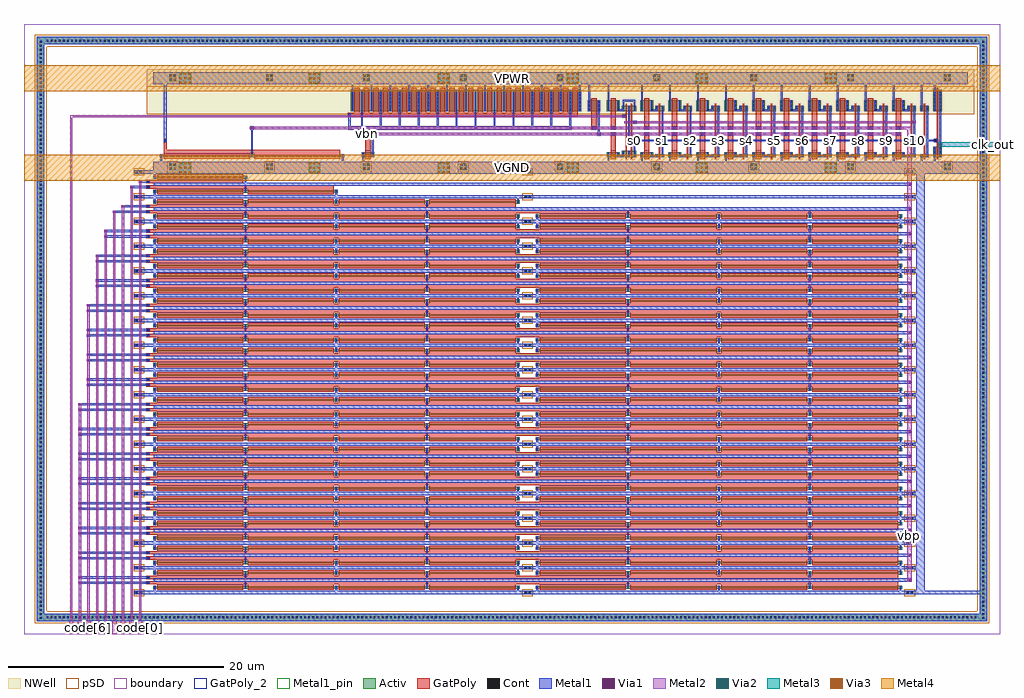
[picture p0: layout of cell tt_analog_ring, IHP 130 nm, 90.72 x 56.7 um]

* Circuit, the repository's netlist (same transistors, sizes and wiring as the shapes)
** TT_ANALOG_RING flat netlist
*.PININFO CODE[0]:I CODE[1]:I CODE[2]:I CODE[3]:I CODE[4]:I CODE[5]:I CODE[6]:I CODE[7]:I ENABLE:I CLK_OUT:O VPWR:B VGND:B
*--------BEGIN_XDAC->CSRO_DAC
*.PININFO CODE[0]:I CODE[1]:I CODE[2]:I CODE[3]:I CODE[4]:I CODE[5]:I CODE[6]:I CODE[7]:I VBP:O VPWR:B VGND:B
MD0_XDAC VBP CODE[0] VGND VGND SG13_LV_NMOS W=0.15U L=8U NG=1
MD1_XDAC VBP CODE[1] VGND VGND SG13_LV_NMOS W=0.3U L=8U NG=2
MD2_XDAC VBP CODE[2] VGND VGND SG13_LV_NMOS W=0.6U L=8U NG=4
MD3_XDAC VBP CODE[3] VGND VGND SG13_LV_NMOS W=1.2U L=8U NG=8
MD4_XDAC VBP CODE[4] VGND VGND SG13_LV_NMOS W=2.4U L=8U NG=16
MD5_XDAC VBP CODE[5] VGND VGND SG13_LV_NMOS W=4.8U L=8U NG=32
MD6_XDAC VBP CODE[6] VGND VGND SG13_LV_NMOS W=9.6U L=8U NG=64
MD7_XDAC VBP CODE[7] VGND VGND SG13_LV_NMOS W=19.2U L=8U NG=128
MDON_XDAC VBP VPWR VGND VGND SG13_LV_NMOS W=0.3U L=8U NG=2
*--------END___XDAC->CSRO_DAC
MMPD VBP VBP VPWR VPWR SG13_LV_PMOS W=48U L=0.5U NG=24
MMPM VBN VBP VPWR VPWR SG13_LV_PMOS W=1U L=0.5U NG=1
MMND VBN VBN VGND VGND SG13_LV_NMOS W=0.5U L=0.5U NG=1
*--------BEGIN_XNAND->CSRO_NAND
*.PININFO A:I B:I OUT:O VBP:I VPWR:B VBN:I VGND:B
MMPS0_XNAND XNAND_NET1 VBP VPWR VPWR SG13_LV_PMOS W=1U L=0.5U NG=1
MMPA0_XNAND NET1 ENABLE XNAND_NET1 VPWR SG13_LV_PMOS W=0.5U L=0.13U NG=1
MMPB0_XNAND NET1 S10 XNAND_NET1 VPWR SG13_LV_PMOS W=0.5U L=0.13U NG=1
MMNB0_XNAND NET1 S10 XNAND_NET2 VGND SG13_LV_NMOS W=0.6U L=0.13U NG=1
MMNA0_XNAND XNAND_NET2 ENABLE XNAND_NET3 VGND SG13_LV_NMOS W=0.6U L=0.13U NG=1
MMNS0_XNAND XNAND_NET3 VBN VGND VGND SG13_LV_NMOS W=0.5U L=0.5U NG=1
*--------END___XNAND->CSRO_NAND
*--------BEGIN_X1->CSRO_STAGE
*.PININFO IN:I OUT:O VBP:I VPWR:B VBN:I VGND:B
MMPS_X1 X1_NET1 VBP VPWR VPWR SG13_LV_PMOS W=1U L=0.5U NG=1
MMP_X1 NET2 NET1 X1_NET1 VPWR SG13_LV_PMOS W=0.5U L=0.13U NG=1
MMN_X1 NET2 NET1 X1_NET2 VGND SG13_LV_NMOS W=0.3U L=0.13U NG=1
MMNS_X1 X1_NET2 VBN VGND VGND SG13_LV_NMOS W=0.5U L=0.5U NG=1
*--------END___X1->CSRO_STAGE
*--------BEGIN_X2->CSRO_STAGE
*.PININFO IN:I OUT:O VBP:I VPWR:B VBN:I VGND:B
MMPS_X2 X2_NET1 VBP VPWR VPWR SG13_LV_PMOS W=1U L=0.5U NG=1
MMP_X2 NET3 NET2 X2_NET1 VPWR SG13_LV_PMOS W=0.5U L=0.13U NG=1
MMN_X2 NET3 NET2 X2_NET2 VGND SG13_LV_NMOS W=0.3U L=0.13U NG=1
MMNS_X2 X2_NET2 VBN VGND VGND SG13_LV_NMOS W=0.5U L=0.5U NG=1
*--------END___X2->CSRO_STAGE
*--------BEGIN_X3->CSRO_STAGE
*.PININFO IN:I OUT:O VBP:I VPWR:B VBN:I VGND:B
MMPS_X3 X3_NET1 VBP VPWR VPWR SG13_LV_PMOS W=1U L=0.5U NG=1
MMP_X3 NET4 NET3 X3_NET1 VPWR SG13_LV_PMOS W=0.5U L=0.13U NG=1
MMN_X3 NET4 NET3 X3_NET2 VGND SG13_LV_NMOS W=0.3U L=0.13U NG=1
MMNS_X3 X3_NET2 VBN VGND VGND SG13_LV_NMOS W=0.5U L=0.5U NG=1
*--------END___X3->CSRO_STAGE
*--------BEGIN_X4->CSRO_STAGE
*.PININFO IN:I OUT:O VBP:I VPWR:B VBN:I VGND:B
MMPS_X4 X4_NET1 VBP VPWR VPWR SG13_LV_PMOS W=1U L=0.5U NG=1
MMP_X4 NET5 NET4 X4_NET1 VPWR SG13_LV_PMOS W=0.5U L=0.13U NG=1
MMN_X4 NET5 NET4 X4_NET2 VGND SG13_LV_NMOS W=0.3U L=0.13U NG=1
MMNS_X4 X4_NET2 VBN VGND VGND SG13_LV_NMOS W=0.5U L=0.5U NG=1
*--------END___X4->CSRO_STAGE
*--------BEGIN_X5->CSRO_STAGE
*.PININFO IN:I OUT:O VBP:I VPWR:B VBN:I VGND:B
MMPS_X5 X5_NET1 VBP VPWR VPWR SG13_LV_PMOS W=1U L=0.5U NG=1
MMP_X5 NET6 NET5 X5_NET1 VPWR SG13_LV_PMOS W=0.5U L=0.13U NG=1
MMN_X5 NET6 NET5 X5_NET2 VGND SG13_LV_NMOS W=0.3U L=0.13U NG=1
MMNS_X5 X5_NET2 VBN VGND VGND SG13_LV_NMOS W=0.5U L=0.5U NG=1
*--------END___X5->CSRO_STAGE
*--------BEGIN_X6->CSRO_STAGE
*.PININFO IN:I OUT:O VBP:I VPWR:B VBN:I VGND:B
MMPS_X6 X6_NET1 VBP VPWR VPWR SG13_LV_PMOS W=1U L=0.5U NG=1
MMP_X6 NET7 NET6 X6_NET1 VPWR SG13_LV_PMOS W=0.5U L=0.13U NG=1
MMN_X6 NET7 NET6 X6_NET2 VGND SG13_LV_NMOS W=0.3U L=0.13U NG=1
MMNS_X6 X6_NET2 VBN VGND VGND SG13_LV_NMOS W=0.5U L=0.5U NG=1
*--------END___X6->CSRO_STAGE
*--------BEGIN_X7->CSRO_STAGE
*.PININFO IN:I OUT:O VBP:I VPWR:B VBN:I VGND:B
MMPS_X7 X7_NET1 VBP VPWR VPWR SG13_LV_PMOS W=1U L=0.5U NG=1
MMP_X7 NET8 NET7 X7_NET1 VPWR SG13_LV_PMOS W=0.5U L=0.13U NG=1
MMN_X7 NET8 NET7 X7_NET2 VGND SG13_LV_NMOS W=0.3U L=0.13U NG=1
MMNS_X7 X7_NET2 VBN VGND VGND SG13_LV_NMOS W=0.5U L=0.5U NG=1
*--------END___X7->CSRO_STAGE
*--------BEGIN_X8->CSRO_STAGE
*.PININFO IN:I OUT:O VBP:I VPWR:B VBN:I VGND:B
MMPS_X8 X8_NET1 VBP VPWR VPWR SG13_LV_PMOS W=1U L=0.5U NG=1
MMP_X8 NET9 NET8 X8_NET1 VPWR SG13_LV_PMOS W=0.5U L=0.13U NG=1
MMN_X8 NET9 NET8 X8_NET2 VGND SG13_LV_NMOS W=0.3U L=0.13U NG=1
MMNS_X8 X8_NET2 VBN VGND VGND SG13_LV_NMOS W=0.5U L=0.5U NG=1
*--------END___X8->CSRO_STAGE
*--------BEGIN_X9->CSRO_STAGE
*.PININFO IN:I OUT:O VBP:I VPWR:B VBN:I VGND:B
MMPS_X9 X9_NET1 VBP VPWR VPWR SG13_LV_PMOS W=1U L=0.5U NG=1
MMP_X9 NET10 NET9 X9_NET1 VPWR SG13_LV_PMOS W=0.5U L=0.13U NG=1
MMN_X9 NET10 NET9 X9_NET2 VGND SG13_LV_NMOS W=0.3U L=0.13U NG=1
MMNS_X9 X9_NET2 VBN VGND VGND SG13_LV_NMOS W=0.5U L=0.5U NG=1
*--------END___X9->CSRO_STAGE
*--------BEGIN_X10->CSRO_STAGE
*.PININFO IN:I OUT:O VBP:I VPWR:B VBN:I VGND:B
MMPS_X10 X10_NET1 VBP VPWR VPWR SG13_LV_PMOS W=1U L=0.5U NG=1
MMP_X10 S10 NET10 X10_NET1 VPWR SG13_LV_PMOS W=0.5U L=0.13U NG=1
MMN_X10 S10 NET10 X10_NET2 VGND SG13_LV_NMOS W=0.3U L=0.13U NG=1
MMNS_X10 X10_NET2 VBN VGND VGND SG13_LV_NMOS W=0.5U L=0.5U NG=1
*--------END___X10->CSRO_STAGE
*--------BEGIN_XB1->CSRO_INV
*.PININFO IN:I OUT:O VPWR:B VGND:B
MMBP_XB1 NET11 S10 VPWR VPWR SG13_LV_PMOS W=0.5U L=0.13U NG=1
MMBN_XB1 NET11 S10 VGND VGND SG13_LV_NMOS W=0.3U L=0.13U NG=1
*--------END___XB1->CSRO_INV
MMBP2 CLK_OUT NET11 VPWR VPWR SG13_LV_PMOS W=2U L=0.13U NG=1
MMBN2 CLK_OUT NET11 VGND VGND SG13_LV_NMOS W=1U L=0.13U NG=1
.end

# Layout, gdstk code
import gdstk
lib = gdstk.Library(unit=1e-6, precision=1e-09)
def R(c, l, rs):  # rectangles x0, y0, x1, y1
    for r in rs: c.add(gdstk.rectangle(r[:2], r[2:], *l))
def A(c, l, x, y, w, h, nx, ny, dx, dy):  # array of equal rectangles
    R(c, l, [(x+i*dx, y+j*dy, x+i*dx+w, y+j*dy+h) for i in range(nx) for j in range(ny)])
Activ = (1, 0)
GatPoly = (5, 0)
GatPoly_2 = (5, 2)
Cont = (6, 0)
Metal1 = (8, 0)
Metal1_pin = (8, 2)
Metal2 = (10, 0)
pSD = (14, 0)
Via1 = (19, 0)
Via2 = (29, 0)
Metal3 = (30, 0)
NWell = (31, 0)
Via3 = (49, 0)
Metal4 = (50, 0)
boundary = (189, 4)

nmos = lib.new_cell('nmos')
A(nmos, Activ, 0, 0, 0.3, 0.3, 5, 1, 8.44, 0)
R(nmos, Activ, [(0,0.075,34.06,0.225)])
A(nmos, GatPoly, 0.37, -0.105, 8, 0.51, 4, 1, 8.44, 0)
R(nmos, GatPoly_2, [(0.37,-0.105,8.37,0.405)])
A(nmos, Cont, 0.07, 0.07, 0.16, 0.16, 5, 1, 8.44, 0)
A(nmos, Metal1, 0.07, 0.02, 0.16, 0.26, 5, 1, 8.44, 0)
R(nmos, Metal1_pin, [(0.07,0.02,0.23,0.28), (8.51,0.02,8.67,0.28)])
nmos.add(gdstk.Label('nmos', (4.37,0.15), layer=63, texttype=0))

pmos = lib.new_cell('pmos')
A(pmos, Activ, 0, 0, 0.3, 0.3, 25, 1, 0.88, 0)
R(pmos, Activ, [(0,0,21.42,2)])
A(pmos, GatPoly, 0.34, -0.18, 0.5, 2.36, 24, 1, 0.88, 0)
R(pmos, GatPoly, [(0.34,-0.18,0.84,2.18)])
A(pmos, Cont, 0.07, 0.07, 0.16, 0.16, 25, 6, 0.88, 0.34)
A(pmos, Metal1, 0.95, 0, 0.16, 2, 24, 1, 0.88, 0)
R(pmos, Metal1, [(0.07,0,0.23,2), (0.07,0,0.23,2), (0.95,0,1.11,2)])
R(pmos, pSD, [(-0.18,-0.3,21.6,2.3)])
R(pmos, NWell, [(-0.31,-0.31,21.73,2.31)])
pmos.add(gdstk.Label('pmos', (0.59,1), layer=63, texttype=0))

via_stack = lib.new_cell('via_stack')
R(via_stack, Metal1, [(-0.145,-0.105,0.145,0.105)])
R(via_stack, Metal2, [(-0.145,-0.1,0.145,0.1)])
R(via_stack, Via1, [(-0.095,-0.095,0.095,0.095)])

pmos_1 = lib.new_cell('pmos$1')
R(pmos_1, Activ, [(0,0,0.3,0.3), (0,0,1.18,1), (0.88,0,1.18,0.3)])
R(pmos_1, GatPoly, [(0.34,-0.18,0.84,1.18), (0.34,-0.18,0.84,1.18)])
A(pmos_1, Cont, 0.07, 0.07, 0.16, 0.16, 1, 3, 0, 0.35)
A(pmos_1, Cont, 0.95, 0.07, 0.16, 0.16, 1, 3, 0, 0.35)
R(pmos_1, Metal1, [(0.07,0,0.23,1), (0.07,0,0.23,1), (0.95,0,1.11,1), (0.95,0,1.11,1)])
R(pmos_1, pSD, [(-0.18,-0.3,1.36,1.3)])
R(pmos_1, NWell, [(-0.31,-0.31,1.49,1.31)])
pmos_1.add(gdstk.Label('pmos', (0.59,0.5), layer=63, texttype=0))

nmos_3 = lib.new_cell('nmos$3')
R(nmos_3, Activ, [(0,0,0.3,0.3), (0,0,1.18,0.5), (0.88,0,1.18,0.3)])
R(nmos_3, GatPoly, [(0.34,-0.18,0.84,0.68)])
R(nmos_3, GatPoly_2, [(0.34,-0.18,0.84,0.68)])
R(nmos_3, Cont, [(0.07,0.17,0.23,0.33), (0.95,0.17,1.11,0.33)])
R(nmos_3, Metal1, [(0.07,0,0.23,0.5), (0.95,0,1.11,0.5)])
R(nmos_3, Metal1_pin, [(0.07,0,0.23,0.5), (0.95,0,1.11,0.5)])
nmos_3.add(gdstk.Label('nmos', (0.59,0.25), layer=63, texttype=0))

nmos_4 = lib.new_cell('nmos$4')
A(nmos_4, Activ, 0, 0, 0.3, 0.3, 3, 1, 0.51, 0)
R(nmos_4, Activ, [(0,0,1.32,0.6)])
R(nmos_4, GatPoly, [(0.34,-0.18,0.47,0.78), (0.85,-0.18,0.98,0.78)])
R(nmos_4, GatPoly_2, [(0.34,-0.18,0.47,0.78)])
A(nmos_4, Cont, 0.07, 0.22, 0.16, 0.16, 3, 1, 0.51, 0)
A(nmos_4, Metal1, 0.07, 0, 0.16, 0.6, 3, 1, 0.51, 0)
R(nmos_4, Metal1_pin, [(0.07,0,0.23,0.6), (0.58,0,0.74,0.6)])
nmos_4.add(gdstk.Label('nmos', (0.405,0.3), layer=63, texttype=0))

pmos_2 = lib.new_cell('pmos$2')
A(pmos_2, Activ, 0, 0, 0.3, 0.3, 3, 1, 0.51, 0)
R(pmos_2, Activ, [(0,0,1.32,0.5)])
R(pmos_2, GatPoly, [(0.34,-0.18,0.47,0.68), (0.34,-0.18,0.47,0.68), (0.85,-0.18,0.98,0.68)])
A(pmos_2, Cont, 0.07, 0.17, 0.16, 0.16, 3, 1, 0.51, 0)
R(pmos_2, Metal1, [(0.07,0,0.23,0.5), (0.07,0,0.23,0.5), (0.58,0,0.74,0.5), (0.58,0,0.74,0.5), (1.09,0,1.25,0.5)])
R(pmos_2, pSD, [(-0.18,-0.3,1.5,0.8)])
R(pmos_2, NWell, [(-0.31,-0.31,1.63,0.81)])
pmos_2.add(gdstk.Label('pmos', (0.405,0.25), layer=63, texttype=0))

nmos_5 = lib.new_cell('nmos$5')
R(nmos_5, Activ, [(0,0,0.3,0.3), (0,0,0.81,0.3), (0.51,0,0.81,0.3)])
R(nmos_5, GatPoly, [(0.34,-0.18,0.47,0.48)])
R(nmos_5, GatPoly_2, [(0.34,-0.18,0.47,0.48)])
R(nmos_5, Cont, [(0.07,0.07,0.23,0.23), (0.58,0.07,0.74,0.23)])
R(nmos_5, Metal1, [(0.07,0,0.23,0.3), (0.58,0,0.74,0.3)])
R(nmos_5, Metal1_pin, [(0.07,0,0.23,0.3), (0.58,0,0.74,0.3)])
nmos_5.add(gdstk.Label('nmos', (0.405,0.15), layer=63, texttype=0))

pmos_3 = lib.new_cell('pmos$3')
R(pmos_3, Activ, [(0,0,0.3,0.3), (0,0,0.81,0.5), (0.51,0,0.81,0.3)])
R(pmos_3, GatPoly, [(0.34,-0.18,0.47,0.68), (0.34,-0.18,0.47,0.68)])
R(pmos_3, Cont, [(0.07,0.17,0.23,0.33), (0.58,0.17,0.74,0.33)])
R(pmos_3, Metal1, [(0.07,0,0.23,0.5), (0.07,0,0.23,0.5), (0.58,0,0.74,0.5), (0.58,0,0.74,0.5)])
R(pmos_3, pSD, [(-0.18,-0.3,0.99,0.8)])
R(pmos_3, NWell, [(-0.31,-0.31,1.12,0.81)])
pmos_3.add(gdstk.Label('pmos', (0.405,0.25), layer=63, texttype=0))

nmos_6 = lib.new_cell('nmos$6')
R(nmos_6, Activ, [(0,0,0.3,0.3), (0,0,0.81,1), (0.51,0,0.81,0.3)])
R(nmos_6, GatPoly, [(0.34,-0.18,0.47,1.18)])
R(nmos_6, GatPoly_2, [(0.34,-0.18,0.47,1.18)])
A(nmos_6, Cont, 0.07, 0.07, 0.16, 0.16, 1, 3, 0, 0.35)
A(nmos_6, Cont, 0.58, 0.07, 0.16, 0.16, 1, 3, 0, 0.35)
R(nmos_6, Metal1, [(0.07,0,0.23,1), (0.58,0,0.74,1)])
R(nmos_6, Metal1_pin, [(0.07,0,0.23,1), (0.58,0,0.74,1)])
nmos_6.add(gdstk.Label('nmos', (0.405,0.5), layer=63, texttype=0))

pmos_4 = lib.new_cell('pmos$4')
R(pmos_4, Activ, [(0,0,0.3,0.3), (0,0,0.81,2), (0.51,0,0.81,0.3)])
R(pmos_4, GatPoly, [(0.34,-0.18,0.47,2.18), (0.34,-0.18,0.47,2.18)])
A(pmos_4, Cont, 0.07, 0.07, 0.16, 0.16, 1, 6, 0, 0.34)
A(pmos_4, Cont, 0.58, 0.07, 0.16, 0.16, 1, 6, 0, 0.34)
R(pmos_4, Metal1, [(0.07,0,0.23,2), (0.07,0,0.23,2), (0.58,0,0.74,2), (0.58,0,0.74,2)])
R(pmos_4, pSD, [(-0.18,-0.3,0.99,2.3)])
R(pmos_4, NWell, [(-0.31,-0.31,1.12,2.31)])
pmos_4.add(gdstk.Label('pmos', (0.405,1), layer=63, texttype=0))

via_stack_1 = lib.new_cell('via_stack$1')
R(via_stack_1, Metal1, [(-0.145,-0.105,0.145,0.105)])
R(via_stack_1, Metal2, [(-0.145,-0.1,0.145,0.1)])
R(via_stack_1, Via1, [(-0.095,-0.095,0.095,0.095)])
R(via_stack_1, Via2, [(-0.095,-0.095,0.095,0.095)])
R(via_stack_1, Metal3, [(-0.145,-0.1,0.145,0.1)])

via_stack_2 = lib.new_cell('via_stack$2')
R(via_stack_2, Metal1, [(-0.555,-0.515,0.555,0.515)])
R(via_stack_2, Metal2, [(-0.555,-0.51,0.555,0.51)])
A(via_stack_2, Via1, -0.505, -0.505, 0.19, 0.19, 3, 3, 0.41, 0.41)
A(via_stack_2, Via2, -0.505, -0.505, 0.19, 0.19, 3, 3, 0.41, 0.41)
R(via_stack_2, Metal3, [(-0.555,-0.51,0.555,0.51)])
A(via_stack_2, Via3, -0.505, -0.505, 0.19, 0.19, 3, 3, 0.41, 0.41)
R(via_stack_2, Metal4, [(-0.555,-0.51,0.555,0.51)])

nmos_1 = lib.new_cell('nmos$1')
A(nmos_1, Activ, 0, 0, 0.3, 0.3, 3, 1, 8.44, 0)
R(nmos_1, Activ, [(0,0.075,17.18,0.225)])
R(nmos_1, GatPoly, [(0.37,-0.105,8.37,0.405), (8.81,-0.105,16.81,0.405)])
R(nmos_1, GatPoly_2, [(0.37,-0.105,8.37,0.405)])
A(nmos_1, Cont, 0.07, 0.07, 0.16, 0.16, 3, 1, 8.44, 0)
A(nmos_1, Metal1, 0.07, 0.02, 0.16, 0.26, 3, 1, 8.44, 0)
R(nmos_1, Metal1_pin, [(0.07,0.02,0.23,0.28), (8.51,0.02,8.67,0.28)])
nmos_1.add(gdstk.Label('nmos', (4.37,0.15), layer=63, texttype=0))

nmos_2 = lib.new_cell('nmos$2')
R(nmos_2, Activ, [(0,0,0.3,0.3), (8.44,0,8.74,0.3), (0,0.075,8.74,0.225)])
R(nmos_2, GatPoly, [(0.37,-0.105,8.37,0.405)])
R(nmos_2, GatPoly_2, [(0.37,-0.105,8.37,0.405)])
R(nmos_2, Cont, [(0.07,0.07,0.23,0.23), (8.51,0.07,8.67,0.23)])
R(nmos_2, Metal1, [(0.07,0.02,0.23,0.28), (8.51,0.02,8.67,0.28)])
R(nmos_2, Metal1_pin, [(0.07,0.02,0.23,0.28), (8.51,0.02,8.67,0.28)])
nmos_2.add(gdstk.Label('nmos', (4.37,0.15), layer=63, texttype=0))

tt_analog_ring = lib.new_cell('tt_analog_ring')
A(tt_analog_ring, Activ, 10.36, 3.7, 0.64, 0.3, 1, 18, 0, 2.3)
A(tt_analog_ring, Activ, 46.49, 3.7, 0.64, 0.3, 1, 18, 0, 2.3)
A(tt_analog_ring, Activ, 82.02, 3.7, 0.64, 0.3, 1, 18, 0, 2.3)
A(tt_analog_ring, Activ, 13.5, 43.1, 0.64, 0.64, 9, 2, 9, 8.3)
R(tt_analog_ring, Activ, [(1.2,1.2,89.52,1.9), (1.2,1.2,1.9,55.5), (88.82,1.2,89.52,55.5), (1.2,54.8,89.52,55.5)])
A(tt_analog_ring, GatPoly, 59.02, 44.77, 0.13, 3.66, 10, 1, 2.6, 0)
A(tt_analog_ring, GatPoly, 57.63, 44.97, 0.5, 1.66, 10, 1, 2.6, 0)
A(tt_analog_ring, GatPoly, 58.74, 45.73, 0.41, 0.3, 10, 1, 2.6, 0)
A(tt_analog_ring, GatPoly, 57.63, 46.88, 0.5, 1.55, 10, 1, 2.6, 0)
R(tt_analog_ring, GatPoly, [(11.38,4.605,81.25,4.905), (12.37,4.605,45.69,4.905), (47.93,4.605,81.25,4.905), (11.38,5.105,81.25,5.405), (12.37,5.105,45.69,5.405), (47.93,5.105,81.25,5.405), (11.38,6.905,81.25,7.205), (12.37,6.905,45.69,7.205), (47.93,6.905,81.25,7.205), (11.38,7.405,81.25,7.705), (12.37,7.405,45.69,7.705), (47.93,7.405,81.25,7.705), (11.38,9.205,81.25,9.505), (12.37,9.205,45.69,9.505), (47.93,9.205,81.25,9.505), (11.38,9.705,81.25,10.005), (12.37,9.705,45.69,10.005), (47.93,9.705,81.25,10.005), (11.38,11.505,81.25,11.805), (12.37,11.505,45.69,11.805), (47.93,11.505,81.25,11.805), (11.38,12.005,81.25,12.305), (12.37,12.005,45.69,12.305), (47.93,12.005,81.25,12.305), (11.38,13.805,81.25,14.105), (12.37,13.805,45.69,14.105), (47.93,13.805,81.25,14.105), (11.38,14.305,81.25,14.605), (12.37,14.305,45.69,14.605), (47.93,14.305,81.25,14.605), (11.38,16.105,81.25,16.405), (12.37,16.105,45.69,16.405), (47.93,16.105,81.25,16.405), (11.38,16.605,81.25,16.905), (12.37,16.605,45.69,16.905), (47.93,16.605,81.25,16.905), (11.38,18.405,81.25,18.705), (12.37,18.405,45.69,18.705), (47.93,18.405,81.25,18.705), (11.38,18.905,81.25,19.205), (12.37,18.905,45.69,19.205), (47.93,18.905,81.25,19.205), (11.38,20.705,81.25,21.005), (12.37,20.705,45.69,21.005), (47.93,20.705,81.25,21.005), (11.38,21.205,81.25,21.505), (12.37,21.205,45.69,21.505), (47.93,21.205,81.25,21.505), (11.38,23.005,81.25,23.305), (12.37,23.005,45.69,23.305), (47.93,23.005,81.25,23.305), (11.38,23.505,81.25,23.805), (12.37,23.505,45.69,23.805), (47.93,23.505,81.25,23.805), (11.38,25.305,81.25,25.605), (12.37,25.305,45.69,25.605), (47.93,25.305,81.25,25.605), (11.38,25.805,81.25,26.105), (12.37,25.805,45.69,26.105), (47.93,25.805,81.25,26.105), (11.38,27.605,81.25,27.905), (12.37,27.605,45.69,27.905), (47.93,27.605,81.25,27.905), (11.38,28.105,81.25,28.405), (12.37,28.105,45.69,28.405), (47.93,28.105,81.25,28.405), (11.38,29.905,81.25,30.205), (12.37,29.905,45.69,30.205), (47.93,29.905,81.25,30.205), (11.38,30.405,81.25,30.705), (12.37,30.405,45.69,30.705), (47.93,30.405,81.25,30.705), (11.38,32.205,81.25,32.505), (12.37,32.205,45.69,32.505), (47.93,32.205,81.25,32.505), (11.38,32.705,81.25,33.005), (12.37,32.705,45.69,33.005), (47.93,32.705,81.25,33.005), (11.38,34.505,81.25,34.805), (12.37,34.505,45.69,34.805), (47.93,34.505,81.25,34.805), (11.38,35.005,81.25,35.305), (12.37,35.005,45.69,35.305), (47.93,35.005,81.25,35.305), (11.38,36.805,81.25,37.105), (12.37,36.805,45.69,37.105), (47.93,36.805,81.25,37.105), (11.38,37.305,81.25,37.605), (12.37,37.305,45.69,37.605), (47.93,37.305,81.25,37.605), (11.38,39.105,81.25,39.405), (12.37,39.105,45.69,39.405), (47.93,39.105,81.25,39.405), (11.38,39.605,45.69,39.905), (12.37,39.605,45.69,39.905), (11.38,41.405,28.81,41.705), (12.37,41.405,28.81,41.705), (11.38,41.905,20.37,42.205), (12.37,41.905,20.37,42.205), (12.97,44.695,29.41,45.005), (83.63,44.77,83.76,48.43), (31.72,44.97,32.22,46.63), (54.52,44.97,55.02,46.63), (12.97,44.995,13.27,46.03), (55.91,45.07,56.04,48.43), (56.42,45.07,56.55,48.43), (84.84,45.47,84.97,48.43), (83.35,45.73,83.76,46.03), (84.56,45.73,84.97,46.03), (52.74,46.88,53.24,48.43), (54.52,46.88,55.02,48.43), (56.42,47.43,56.97,47.73), (55.63,47.98,56.04,48.28), (30.1,48.12,51.46,48.43)])
A(tt_analog_ring, Cont, 1.47, 1.4, 0.16, 0.16, 1, 142, 0, 0.38)
A(tt_analog_ring, Cont, 89.09, 1.4, 0.16, 0.16, 1, 142, 0, 0.38)
A(tt_analog_ring, Cont, 2.1, 1.47, 0.16, 0.16, 228, 2, 0.38, 53.6)
A(tt_analog_ring, Cont, 10.43, 3.77, 0.16, 0.16, 1, 18, 0, 2.3)
A(tt_analog_ring, Cont, 10.77, 3.77, 0.16, 0.16, 1, 18, 0, 2.3)
A(tt_analog_ring, Cont, 46.56, 3.77, 0.16, 0.16, 1, 18, 0, 2.3)
A(tt_analog_ring, Cont, 46.9, 3.77, 0.16, 0.16, 1, 18, 0, 2.3)
A(tt_analog_ring, Cont, 82.09, 3.77, 0.16, 0.16, 1, 18, 0, 2.3)
A(tt_analog_ring, Cont, 82.43, 3.77, 0.16, 0.16, 1, 18, 0, 2.3)
A(tt_analog_ring, Cont, 58.81, 45.8, 0.16, 0.16, 10, 1, 2.6, 0)
A(tt_analog_ring, Cont, 57.8, 46.4, 0.16, 0.16, 10, 2, 2.6, 0.55)
R(tt_analog_ring, Cont, [(11.46,4.675,11.62,4.835), (11.46,5.175,11.62,5.335), (11.46,6.975,11.62,7.135), (11.46,7.475,11.62,7.635), (11.46,9.275,11.62,9.435), (11.46,9.775,11.62,9.935), (11.46,11.575,11.62,11.735), (11.46,12.075,11.62,12.235), (11.46,13.875,11.62,14.035), (11.46,14.375,11.62,14.535), (11.46,16.175,11.62,16.335), (11.46,16.675,11.62,16.835), (11.46,18.475,11.62,18.635), (11.46,18.975,11.62,19.135), (11.46,20.775,11.62,20.935), (11.46,21.275,11.62,21.435), (11.46,23.075,11.62,23.235), (11.46,23.575,11.62,23.735), (11.46,25.375,11.62,25.535), (11.46,25.875,11.62,26.035), (11.46,27.675,11.62,27.835), (11.46,28.175,11.62,28.335), (11.46,29.975,11.62,30.135), (11.46,30.475,11.62,30.635), (11.46,32.275,11.62,32.435), (11.46,32.775,11.62,32.935), (11.46,34.575,11.62,34.735), (11.46,35.075,11.62,35.235), (11.46,36.875,11.62,37.035), (11.46,37.375,11.62,37.535), (11.46,39.175,11.62,39.335), (11.46,39.675,11.62,39.835), (11.46,41.475,11.62,41.635), (11.46,41.975,11.62,42.135), (13.57,43.17,13.73,43.33), (13.91,43.17,14.07,43.33), (22.57,43.17,22.73,43.33), (22.91,43.17,23.07,43.33), (31.57,43.17,31.73,43.33), (31.91,43.17,32.07,43.33), (40.57,43.17,40.73,43.33), (40.91,43.17,41.07,43.33), (49.57,43.17,49.73,43.33), (49.91,43.17,50.07,43.33), (58.57,43.17,58.73,43.33), (58.91,43.17,59.07,43.33), (67.57,43.17,67.73,43.33), (67.91,43.17,68.07,43.33), (76.57,43.17,76.73,43.33), (76.91,43.17,77.07,43.33), (85.57,43.17,85.73,43.33), (85.91,43.17,86.07,43.33), (13.57,43.51,13.73,43.67), (13.91,43.51,14.07,43.67), (22.57,43.51,22.73,43.67), (22.91,43.51,23.07,43.67), (31.57,43.51,31.73,43.67), (31.91,43.51,32.07,43.67), (40.57,43.51,40.73,43.67), (40.91,43.51,41.07,43.67), (49.57,43.51,49.73,43.67), (49.91,43.51,50.07,43.67), (58.57,43.51,58.73,43.67), (58.91,43.51,59.07,43.67), (67.57,43.51,67.73,43.67), (67.91,43.51,68.07,43.67), (76.57,43.51,76.73,43.67), (76.91,43.51,77.07,43.67), (85.57,43.51,85.73,43.67), (85.91,43.51,86.07,43.67), (13.04,45.8,13.2,45.96), (83.42,45.8,83.58,45.96), (84.63,45.8,84.79,45.96), (31.89,46.4,32.05,46.56), (54.69,46.4,54.85,46.56), (52.91,46.95,53.07,47.11), (54.69,46.95,54.85,47.11), (56.72,47.5,56.88,47.66), (55.7,48.05,55.86,48.21), (30.18,48.195,30.34,48.355), (13.57,51.47,13.73,51.63), (13.91,51.47,14.07,51.63), (22.57,51.47,22.73,51.63), (22.91,51.47,23.07,51.63), (31.57,51.47,31.73,51.63), (31.91,51.47,32.07,51.63), (40.57,51.47,40.73,51.63), (40.91,51.47,41.07,51.63), (49.57,51.47,49.73,51.63), (49.91,51.47,50.07,51.63), (58.57,51.47,58.73,51.63), (58.91,51.47,59.07,51.63), (67.57,51.47,67.73,51.63), (67.91,51.47,68.07,51.63), (76.57,51.47,76.73,51.63), (76.91,51.47,77.07,51.63), (85.57,51.47,85.73,51.63), (85.91,51.47,86.07,51.63), (13.57,51.81,13.73,51.97), (13.91,51.81,14.07,51.97), (22.57,51.81,22.73,51.97), (22.91,51.81,23.07,51.97), (31.57,51.81,31.73,51.97), (31.91,51.81,32.07,51.97), (40.57,51.81,40.73,51.97), (40.91,51.81,41.07,51.97), (49.57,51.81,49.73,51.97), (49.91,51.81,50.07,51.97), (58.57,51.81,58.73,51.97), (58.91,51.81,59.07,51.97), (67.57,51.81,67.73,51.97), (67.91,51.81,68.07,51.97), (76.57,51.81,76.73,51.97), (76.91,51.81,77.07,51.97), (85.57,51.81,85.73,51.97), (85.91,51.81,86.07,51.97)])
A(tt_analog_ring, Metal1, 10.26, 3.7, 1.84, 0.3, 1, 18, 0, 2.3)
A(tt_analog_ring, Metal1, 12.07, 3.7, 71.65, 0.3, 1, 18, 0, 2.3)
A(tt_analog_ring, Metal1, 12.07, 4, 0.16, 0.48, 3, 16, 16.88, 2.3)
A(tt_analog_ring, Metal1, 47.63, 4, 0.16, 0.48, 3, 16, 16.88, 2.3)
A(tt_analog_ring, Metal1, 20.51, 4.22, 0.16, 0.64, 1, 17, 0, 2.3)
A(tt_analog_ring, Metal1, 37.39, 4.22, 0.16, 0.64, 1, 16, 0, 2.3)
A(tt_analog_ring, Metal1, 56.07, 4.22, 0.16, 0.64, 1, 16, 0, 2.3)
A(tt_analog_ring, Metal1, 72.95, 4.22, 0.16, 0.64, 1, 16, 0, 2.3)
A(tt_analog_ring, Metal1, 12.07, 4.86, 70.45, 0.3, 1, 17, 0, 2.3)
A(tt_analog_ring, Metal1, 20.51, 5.16, 0.16, 0.63, 1, 17, 0, 2.3)
A(tt_analog_ring, Metal1, 37.39, 5.16, 0.16, 0.63, 1, 16, 0, 2.3)
A(tt_analog_ring, Metal1, 56.07, 5.16, 0.16, 0.63, 1, 15, 0, 2.3)
A(tt_analog_ring, Metal1, 72.95, 5.16, 0.16, 0.63, 1, 15, 0, 2.3)
A(tt_analog_ring, Metal1, 12.07, 5.53, 0.16, 0.47, 3, 16, 16.88, 2.3)
A(tt_analog_ring, Metal1, 47.63, 5.53, 0.16, 0.47, 3, 15, 16.88, 2.3)
A(tt_analog_ring, Metal1, 57.36, 43.89, 0.16, 0.91, 10, 1, 2.6, 0)
A(tt_analog_ring, Metal1, 58.24, 44.3, 0.67, 0.16, 10, 2, 2.6, 4.3)
A(tt_analog_ring, Metal1, 59.26, 44.3, 0.16, 4.8, 10, 1, 2.6, 0)
A(tt_analog_ring, Metal1, 58.73, 45.73, 0.32, 0.3, 10, 1, 2.6, 0)
A(tt_analog_ring, Metal1, 56.81, 45.8, 1.93, 0.16, 10, 1, 2.6, 0)
A(tt_analog_ring, Metal1, 57.72, 46.33, 0.32, 0.3, 10, 2, 2.6, 0.55)
A(tt_analog_ring, Metal1, 31.33, 47.03, 0.16, 3.57, 12, 1, 1.76, 0)
A(tt_analog_ring, Metal1, 30.45, 48.6, 0.16, 2.51, 13, 1, 1.76, 0)
A(tt_analog_ring, Metal1, 57.36, 48.6, 0.16, 2.51, 11, 1, 2.6, 0)
R(tt_analog_ring, Metal1, [(1.2,1.2,89.52,1.9), (1.2,1.2,1.9,55.5), (88.82,1.2,89.52,55.5), (82.92,3.7,83.72,43.1), (83.71,3.7,89.52,4), (5.055,4.655,11.7,4.855), (5.055,5.155,11.7,5.355), (5.055,6.955,11.7,7.155), (5.055,7.455,11.7,7.655), (5.055,9.255,11.7,9.455), (5.055,9.755,11.7,9.955), (5.055,11.555,11.7,11.755), (5.055,12.055,11.7,12.255), (5.055,13.855,11.7,14.055), (5.055,14.355,11.7,14.555), (5.055,16.155,11.7,16.355), (5.055,16.655,11.7,16.855), (5.055,18.455,11.7,18.655), (5.055,18.955,11.7,19.155), (5.055,20.755,11.7,20.955), (5.055,21.255,11.7,21.455), (5.855,23.055,11.7,23.255), (5.855,23.555,11.7,23.755), (5.855,25.355,11.7,25.555), (5.855,25.855,11.7,26.055), (5.855,27.655,11.7,27.855), (5.855,28.155,11.7,28.355), (5.855,29.955,11.7,30.155), (5.855,30.455,11.7,30.655), (6.655,32.255,11.7,32.455), (6.655,32.755,11.7,32.955), (6.655,34.555,11.7,34.755), (6.655,35.055,11.7,35.255), (7.455,36.855,11.7,37.055), (7.455,37.355,11.7,37.555), (8.255,39.155,11.7,39.355), (9.055,39.655,11.7,39.855), (12.07,40.8,12.23,41.28), (28.95,40.8,29.11,41.28), (9.855,41.455,11.7,41.655), (10.655,41.955,11.7,42.155), (12.07,42.33,12.23,42.8), (12,42.8,83.72,43.9), (83.71,42.8,89.52,43.9), (12.67,43.89,12.83,44.58), (29.55,43.89,29.71,44.58), (31.45,43.89,31.61,44.8), (54.25,43.89,54.41,44.8), (83.36,43.89,83.52,44.6), (84.57,43.89,84.73,45.3), (32.33,44.3,32.49,46.48), (55.13,44.3,55.8,44.46), (56.66,44.3,56.82,45.88), (83.87,44.3,84.03,49.1), (85.08,44.3,85.24,50.6), (21.11,44.32,21.27,47.03), (12.99,45.73,13.25,51.11), (83.34,45.73,83.66,46.03), (84.55,45.73,84.87,46.03), (56.15,45.8,56.82,45.96), (82.81,45.8,83.35,45.96), (84.02,45.8,84.56,45.96), (56.15,45.88,56.31,49.1), (31.81,46.33,32.13,46.63), (31.81,46.33,32.57,46.63), (53.27,46.33,53.59,46.63), (54.61,46.33,54.93,46.63), (53.35,46.48,53.51,49.6), (21.03,46.88,21.35,47.18), (30.13,46.88,30.39,48.425), (30.13,46.88,31.49,47.18), (31.25,46.88,50.93,47.18), (52.83,46.88,53.15,47.18), (54.61,46.88,54.93,47.18), (56.64,47.43,56.96,47.73), (55.62,47.98,55.94,48.28), (52.47,48.6,52.63,51.11), (54.25,48.6,54.41,51.11), (55.13,48.6,55.8,48.76), (84.57,48.6,84.73,51.11), (55.64,49.09,55.8,49.64), (56.66,49.09,56.82,49.64), (55.64,49.48,56.82,49.64), (12,51.1,87.71,52.2), (1.2,54.8,89.52,55.5)])
A(tt_analog_ring, Metal2, 4.2, 0, 0.4, 1.2, 9, 1, 0.8, 0)
R(tt_analog_ring, Metal2, [(4.3,0,4.5,48.23), (5.1,0,5.3,21.355), (5.9,0,6.1,30.555), (6.7,0,6.9,35.155), (7.5,0,7.7,37.455), (8.3,0,8.5,39.255), (9.1,0,9.3,39.755), (9.9,0,10.1,41.555), (10.7,0,10.9,42.055), (82.12,4.86,82.52,43.1), (82.12,42.8,82.52,47.13), (84.96,45.3,85.36,45.7), (31.77,46.38,81.48,46.58), (20.99,46.93,82.52,47.13), (55.78,47.48,82.89,47.68), (4.3,48.03,55.93,48.23)])
A(tt_analog_ring, pSD, 10.18, 3.52, 1, 0.66, 1, 18, 0, 2.3)
A(tt_analog_ring, pSD, 46.31, 3.52, 1, 0.66, 1, 18, 0, 2.3)
A(tt_analog_ring, pSD, 81.84, 3.52, 1, 0.66, 1, 18, 0, 2.3)
A(tt_analog_ring, pSD, 13.32, 42.92, 1, 1, 9, 1, 9, 0)
R(tt_analog_ring, pSD, [(1,1,89.72,2.1), (1,1,2.1,55.7), (88.62,1,89.72,55.7), (11.4,48.3,88.31,50.9), (1,54.6,89.72,55.7)])
R(tt_analog_ring, Metal3, [(85.015,45.3,90.72,45.7)])
R(tt_analog_ring, NWell, [(11.4,48.29,88.31,52.51)])
R(tt_analog_ring, Metal4, [(0,42.15,90.72,44.55), (0,50.45,90.72,52.85)])
R(tt_analog_ring, boundary, [(0,0,90.72,56.7)])
tt_analog_ring.add(gdstk.Reference(nmos, (12,4.2)))
tt_analog_ring.add(gdstk.Reference(nmos, (12,5.51)))
tt_analog_ring.add(gdstk.Reference(nmos, (12,6.5)))
tt_analog_ring.add(gdstk.Reference(nmos, (12,7.81)))
tt_analog_ring.add(gdstk.Reference(nmos, (12,8.8)))
tt_analog_ring.add(gdstk.Reference(nmos, (12,10.11)))
tt_analog_ring.add(gdstk.Reference(nmos, (12,11.1)))
tt_analog_ring.add(gdstk.Reference(nmos, (12,12.41)))
tt_analog_ring.add(gdstk.Reference(nmos, (12,13.4)))
tt_analog_ring.add(gdstk.Reference(nmos, (12,14.71)))
tt_analog_ring.add(gdstk.Reference(nmos, (12,15.7)))
tt_analog_ring.add(gdstk.Reference(nmos, (12,17.01)))
tt_analog_ring.add(gdstk.Reference(nmos, (12,18)))
tt_analog_ring.add(gdstk.Reference(nmos, (12,19.31)))
tt_analog_ring.add(gdstk.Reference(nmos, (12,20.3)))
tt_analog_ring.add(gdstk.Reference(nmos, (12,21.61)))
tt_analog_ring.add(gdstk.Reference(nmos, (12,22.6)))
tt_analog_ring.add(gdstk.Reference(nmos, (12,23.91)))
tt_analog_ring.add(gdstk.Reference(nmos, (12,24.9)))
tt_analog_ring.add(gdstk.Reference(nmos, (12,26.21)))
tt_analog_ring.add(gdstk.Reference(nmos, (12,27.2)))
tt_analog_ring.add(gdstk.Reference(nmos, (12,28.51)))
tt_analog_ring.add(gdstk.Reference(nmos, (12,29.5)))
tt_analog_ring.add(gdstk.Reference(nmos, (12,30.81)))
tt_analog_ring.add(gdstk.Reference(nmos, (12,31.8)))
tt_analog_ring.add(gdstk.Reference(nmos, (12,33.11)))
tt_analog_ring.add(gdstk.Reference(nmos, (12,34.1)))
tt_analog_ring.add(gdstk.Reference(nmos, (12,35.41)))
tt_analog_ring.add(gdstk.Reference(nmos, (12,36.4)))
tt_analog_ring.add(gdstk.Reference(nmos, (12,37.71)))
tt_analog_ring.add(gdstk.Reference(nmos, (12,38.7)))
tt_analog_ring.add(gdstk.Reference(nmos, (12,40.01)))
tt_analog_ring.add(gdstk.Reference(pmos, (30.38,48.6)))
tt_analog_ring.add(gdstk.Reference(nmos, (47.56,29.5)))
tt_analog_ring.add(gdstk.Reference(nmos, (47.56,35.41)))
tt_analog_ring.add(gdstk.Reference(nmos, (47.56,31.8)))
tt_analog_ring.add(gdstk.Reference(nmos, (47.56,36.4)))
tt_analog_ring.add(gdstk.Reference(nmos, (47.56,28.51)))
tt_analog_ring.add(gdstk.Reference(nmos, (47.56,37.71)))
tt_analog_ring.add(gdstk.Reference(nmos, (47.56,33.11)))
tt_analog_ring.add(gdstk.Reference(nmos, (47.56,38.7)))
tt_analog_ring.add(gdstk.Reference(nmos, (47.56,30.81)))
tt_analog_ring.add(gdstk.Reference(via_stack, (82.32,30.31)))
tt_analog_ring.add(gdstk.Reference(via_stack, (82.32,32.61)))
tt_analog_ring.add(gdstk.Reference(via_stack, (82.32,34.91)))
tt_analog_ring.add(gdstk.Reference(via_stack, (82.32,37.21)))
tt_analog_ring.add(gdstk.Reference(via_stack, (82.32,39.51)))
tt_analog_ring.add(gdstk.Reference(via_stack, (82.32,41.81)))
tt_analog_ring.add(gdstk.Reference(nmos, (47.56,34.1)))
tt_analog_ring.add(gdstk.Reference(via_stack, (50.77,47.03)))
tt_analog_ring.add(gdstk.Reference(pmos_1, (52.4,48.6)))
tt_analog_ring.add(gdstk.Reference(via_stack, (52.99,47.03)))
tt_analog_ring.add(gdstk.Reference(via_stack, (53.43,46.48)))
tt_analog_ring.add(gdstk.Reference(nmos_3, (54.18,44.3)))
tt_analog_ring.add(gdstk.Reference(pmos_1, (54.18,48.6)))
tt_analog_ring.add(gdstk.Reference(nmos_4, (55.57,44.3)))
tt_analog_ring.add(gdstk.Reference(pmos_2, (55.57,48.6)))
tt_analog_ring.add(gdstk.Reference(via_stack, (54.77,46.48)))
tt_analog_ring.add(gdstk.Reference(via_stack, (54.77,47.03)))
tt_analog_ring.add(gdstk.Reference(via_stack, (55.78,48.13)))
tt_analog_ring.add(gdstk.Reference(via_stack, (56.8,47.58)))
tt_analog_ring.add(gdstk.Reference(nmos_3, (57.29,44.3)))
tt_analog_ring.add(gdstk.Reference(pmos_1, (57.29,48.6)))
tt_analog_ring.add(gdstk.Reference(nmos_5, (58.68,44.3)))
tt_analog_ring.add(gdstk.Reference(pmos_3, (58.68,48.6)))
tt_analog_ring.add(gdstk.Reference(via_stack, (57.88,46.48)))
tt_analog_ring.add(gdstk.Reference(via_stack, (57.88,47.03)))
tt_analog_ring.add(gdstk.Reference(nmos_3, (59.89,44.3)))
tt_analog_ring.add(gdstk.Reference(pmos_1, (59.89,48.6)))
tt_analog_ring.add(gdstk.Reference(nmos_5, (61.28,44.3)))
tt_analog_ring.add(gdstk.Reference(pmos_3, (61.28,48.6)))
tt_analog_ring.add(gdstk.Reference(via_stack, (60.48,46.48)))
tt_analog_ring.add(gdstk.Reference(via_stack, (60.48,47.03)))
tt_analog_ring.add(gdstk.Reference(nmos_3, (62.49,44.3)))
tt_analog_ring.add(gdstk.Reference(pmos_1, (62.49,48.6)))
tt_analog_ring.add(gdstk.Reference(nmos_5, (63.88,44.3)))
tt_analog_ring.add(gdstk.Reference(pmos_3, (63.88,48.6)))
tt_analog_ring.add(gdstk.Reference(via_stack, (63.08,46.48)))
tt_analog_ring.add(gdstk.Reference(via_stack, (63.08,47.03)))
tt_analog_ring.add(gdstk.Reference(nmos_3, (65.09,44.3)))
tt_analog_ring.add(gdstk.Reference(pmos_1, (65.09,48.6)))
tt_analog_ring.add(gdstk.Reference(nmos_5, (66.48,44.3)))
tt_analog_ring.add(gdstk.Reference(pmos_3, (66.48,48.6)))
tt_analog_ring.add(gdstk.Reference(via_stack, (65.68,46.48)))
tt_analog_ring.add(gdstk.Reference(via_stack, (65.68,47.03)))
tt_analog_ring.add(gdstk.Reference(nmos_3, (67.69,44.3)))
tt_analog_ring.add(gdstk.Reference(pmos_1, (67.69,48.6)))
tt_analog_ring.add(gdstk.Reference(nmos_5, (69.08,44.3)))
tt_analog_ring.add(gdstk.Reference(pmos_3, (69.08,48.6)))
tt_analog_ring.add(gdstk.Reference(via_stack, (68.28,46.48)))
tt_analog_ring.add(gdstk.Reference(via_stack, (68.28,47.03)))
tt_analog_ring.add(gdstk.Reference(nmos_3, (70.29,44.3)))
tt_analog_ring.add(gdstk.Reference(pmos_1, (70.29,48.6)))
tt_analog_ring.add(gdstk.Reference(nmos_5, (71.68,44.3)))
tt_analog_ring.add(gdstk.Reference(pmos_3, (71.68,48.6)))
tt_analog_ring.add(gdstk.Reference(via_stack, (70.88,46.48)))
tt_analog_ring.add(gdstk.Reference(via_stack, (70.88,47.03)))
tt_analog_ring.add(gdstk.Reference(nmos_3, (72.89,44.3)))
tt_analog_ring.add(gdstk.Reference(pmos_1, (72.89,48.6)))
tt_analog_ring.add(gdstk.Reference(nmos_5, (74.28,44.3)))
tt_analog_ring.add(gdstk.Reference(pmos_3, (74.28,48.6)))
tt_analog_ring.add(gdstk.Reference(via_stack, (73.48,46.48)))
tt_analog_ring.add(gdstk.Reference(via_stack, (73.48,47.03)))
tt_analog_ring.add(gdstk.Reference(nmos_3, (75.49,44.3)))
tt_analog_ring.add(gdstk.Reference(pmos_1, (75.49,48.6)))
tt_analog_ring.add(gdstk.Reference(nmos_5, (76.88,44.3)))
tt_analog_ring.add(gdstk.Reference(pmos_3, (76.88,48.6)))
tt_analog_ring.add(gdstk.Reference(via_stack, (76.08,46.48)))
tt_analog_ring.add(gdstk.Reference(via_stack, (76.08,47.03)))
tt_analog_ring.add(gdstk.Reference(nmos_3, (78.09,44.3)))
tt_analog_ring.add(gdstk.Reference(pmos_1, (78.09,48.6)))
tt_analog_ring.add(gdstk.Reference(nmos_5, (79.48,44.3)))
tt_analog_ring.add(gdstk.Reference(pmos_3, (79.48,48.6)))
tt_analog_ring.add(gdstk.Reference(via_stack, (78.68,46.48)))
tt_analog_ring.add(gdstk.Reference(via_stack, (78.68,47.03)))
tt_analog_ring.add(gdstk.Reference(nmos_3, (80.69,44.3)))
tt_analog_ring.add(gdstk.Reference(pmos_1, (80.69,48.6)))
tt_analog_ring.add(gdstk.Reference(nmos_5, (82.08,44.3)))
tt_analog_ring.add(gdstk.Reference(pmos_3, (82.08,48.6)))
tt_analog_ring.add(gdstk.Reference(via_stack, (81.28,46.48)))
tt_analog_ring.add(gdstk.Reference(via_stack, (81.28,47.03)))
tt_analog_ring.add(gdstk.Reference(via_stack, (82.74,47.58)))
tt_analog_ring.add(gdstk.Reference(nmos_5, (83.29,44.3)))
tt_analog_ring.add(gdstk.Reference(pmos_3, (83.29,48.6)))
tt_analog_ring.add(gdstk.Reference(nmos_6, (84.5,44.3)))
tt_analog_ring.add(gdstk.Reference(pmos_4, (84.5,48.6)))
tt_analog_ring.add(gdstk.Reference(via_stack_1, (85.16,45.5)))
tt_analog_ring.add(gdstk.Reference(via_stack_2, (51,43.35)))
tt_analog_ring.add(gdstk.Reference(via_stack_2, (63,43.35)))
tt_analog_ring.add(gdstk.Reference(via_stack_2, (75,43.35)))
tt_analog_ring.add(gdstk.Reference(via_stack_2, (51,51.65)))
tt_analog_ring.add(gdstk.Reference(via_stack_2, (63,51.65)))
tt_analog_ring.add(gdstk.Reference(via_stack_2, (75,51.65)))
tt_analog_ring.add(gdstk.Reference(via_stack, (31.97,46.48)))
tt_analog_ring.add(gdstk.Reference(via_stack, (8.4,39.255)))
tt_analog_ring.add(gdstk.Reference(via_stack, (6.8,35.155)))
tt_analog_ring.add(gdstk.Reference(via_stack, (9.2,39.755)))
tt_analog_ring.add(gdstk.Reference(nmos_1, (12,41)))
tt_analog_ring.add(gdstk.Reference(via_stack, (10,41.555)))
tt_analog_ring.add(gdstk.Reference(nmos_2, (12,42.31)))
tt_analog_ring.add(gdstk.Reference(via_stack, (10.8,42.055)))
tt_analog_ring.add(gdstk.Reference(via_stack, (6.8,32.855)))
tt_analog_ring.add(gdstk.Reference(via_stack, (6,30.055)))
tt_analog_ring.add(gdstk.Reference(via_stack, (7.6,36.955)))
tt_analog_ring.add(gdstk.Reference(via_stack, (6.8,32.355)))
tt_analog_ring.add(gdstk.Reference(via_stack, (6.8,34.655)))
tt_analog_ring.add(gdstk.Reference(via_stack, (7.6,37.455)))
tt_analog_ring.add(gdstk.Reference(nmos_1, (12.6,44.3)))
tt_analog_ring.add(gdstk.Reference(via_stack_2, (15,43.35)))
tt_analog_ring.add(gdstk.Reference(via_stack_2, (27,43.35)))
tt_analog_ring.add(gdstk.Reference(via_stack_2, (39,43.35)))
tt_analog_ring.add(gdstk.Reference(via_stack, (21.19,47.03)))
tt_analog_ring.add(gdstk.Reference(via_stack, (6,30.555)))
tt_analog_ring.add(gdstk.Reference(via_stack, (31.41,47.03)))
tt_analog_ring.add(gdstk.Reference(via_stack_2, (15,51.65)))
tt_analog_ring.add(gdstk.Reference(via_stack_2, (27,51.65)))
tt_analog_ring.add(gdstk.Reference(via_stack_2, (39,51.65)))
tt_analog_ring.add(gdstk.Reference(via_stack, (41.97,47.03)))
tt_analog_ring.add(gdstk.Reference(via_stack, (6,28.255)))
tt_analog_ring.add(gdstk.Reference(nmos_3, (31.38,44.3)))
tt_analog_ring.add(gdstk.Reference(via_stack, (5.2,13.955)))
tt_analog_ring.add(gdstk.Reference(via_stack, (6,23.655)))
tt_analog_ring.add(gdstk.Reference(via_stack, (5.2,9.355)))
tt_analog_ring.add(gdstk.Reference(via_stack, (6,25.455)))
tt_analog_ring.add(gdstk.Reference(via_stack, (5.2,14.455)))
tt_analog_ring.add(gdstk.Reference(via_stack, (6,25.955)))
tt_analog_ring.add(gdstk.Reference(via_stack, (5.2,7.055)))
tt_analog_ring.add(gdstk.Reference(via_stack, (6,27.755)))
tt_analog_ring.add(gdstk.Reference(via_stack, (5.2,16.255)))
tt_analog_ring.add(gdstk.Reference(via_stack, (5.2,9.855)))
tt_analog_ring.add(gdstk.Reference(via_stack, (5.2,16.755)))
tt_analog_ring.add(gdstk.Reference(via_stack, (5.2,5.255)))
tt_analog_ring.add(gdstk.Reference(via_stack, (5.2,18.555)))
tt_analog_ring.add(gdstk.Reference(via_stack, (5.2,11.655)))
tt_analog_ring.add(gdstk.Reference(via_stack, (5.2,19.055)))
tt_analog_ring.add(gdstk.Reference(via_stack, (5.2,7.555)))
tt_analog_ring.add(gdstk.Reference(via_stack, (5.2,20.855)))
tt_analog_ring.add(gdstk.Reference(via_stack, (5.2,12.155)))
tt_analog_ring.add(gdstk.Reference(via_stack, (5.2,21.355)))
tt_analog_ring.add(gdstk.Reference(via_stack, (5.2,4.755)))
tt_analog_ring.add(gdstk.Reference(via_stack, (6,23.155)))
tt_analog_ring.add(gdstk.Reference(nmos, (47.56,20.3)))
tt_analog_ring.add(gdstk.Reference(nmos, (47.56,11.1)))
tt_analog_ring.add(gdstk.Reference(nmos, (47.56,8.8)))
tt_analog_ring.add(gdstk.Reference(nmos, (47.56,21.61)))
tt_analog_ring.add(gdstk.Reference(nmos, (47.56,15.7)))
tt_analog_ring.add(gdstk.Reference(nmos, (47.56,5.51)))
tt_analog_ring.add(gdstk.Reference(nmos, (47.56,22.6)))
tt_analog_ring.add(gdstk.Reference(nmos, (47.56,12.41)))
tt_analog_ring.add(gdstk.Reference(nmos, (47.56,17.01)))
tt_analog_ring.add(gdstk.Reference(nmos, (47.56,23.91)))
tt_analog_ring.add(gdstk.Reference(nmos, (47.56,7.81)))
tt_analog_ring.add(gdstk.Reference(nmos, (47.56,10.11)))
tt_analog_ring.add(gdstk.Reference(nmos, (47.56,24.9)))
tt_analog_ring.add(gdstk.Reference(nmos, (47.56,18)))
tt_analog_ring.add(gdstk.Reference(via_stack, (82.32,5.01)))
tt_analog_ring.add(gdstk.Reference(via_stack, (82.32,7.31)))
tt_analog_ring.add(gdstk.Reference(via_stack, (82.32,9.61)))
tt_analog_ring.add(gdstk.Reference(via_stack, (82.32,11.91)))
tt_analog_ring.add(gdstk.Reference(via_stack, (82.32,14.21)))
tt_analog_ring.add(gdstk.Reference(via_stack, (82.32,16.51)))
tt_analog_ring.add(gdstk.Reference(via_stack, (82.32,18.81)))
tt_analog_ring.add(gdstk.Reference(via_stack, (82.32,21.11)))
tt_analog_ring.add(gdstk.Reference(via_stack, (82.32,23.41)))
tt_analog_ring.add(gdstk.Reference(via_stack, (82.32,25.71)))
tt_analog_ring.add(gdstk.Reference(via_stack, (82.32,28.01)))
tt_analog_ring.add(gdstk.Reference(nmos, (47.56,13.4)))
tt_analog_ring.add(gdstk.Reference(nmos, (47.56,26.21)))
tt_analog_ring.add(gdstk.Reference(nmos, (47.56,6.5)))
tt_analog_ring.add(gdstk.Reference(nmos, (47.56,19.31)))
tt_analog_ring.add(gdstk.Reference(nmos, (47.56,27.2)))
tt_analog_ring.add(gdstk.Reference(nmos, (47.56,4.2)))
tt_analog_ring.add(gdstk.Reference(nmos, (47.56,14.71)))
tt_analog_ring.add(gdstk.Label('s0', (56.74,45.88), layer=8, texttype=25))
tt_analog_ring.add(gdstk.Label('s1', (59.34,45.88), layer=8, texttype=25))
tt_analog_ring.add(gdstk.Label('s2', (61.94,45.88), layer=8, texttype=25))
tt_analog_ring.add(gdstk.Label('s3', (64.54,45.88), layer=8, texttype=25))
tt_analog_ring.add(gdstk.Label('s4', (67.14,45.88), layer=8, texttype=25))
tt_analog_ring.add(gdstk.Label('s5', (69.74,45.88), layer=8, texttype=25))
tt_analog_ring.add(gdstk.Label('s6', (72.34,45.88), layer=8, texttype=25))
tt_analog_ring.add(gdstk.Label('s7', (74.94,45.88), layer=8, texttype=25))
tt_analog_ring.add(gdstk.Label('s8', (77.54,45.88), layer=8, texttype=25))
tt_analog_ring.add(gdstk.Label('s9', (80.14,45.88), layer=8, texttype=25))
tt_analog_ring.add(gdstk.Label('s10', (82.74,45.88), layer=8, texttype=25))
tt_analog_ring.add(gdstk.Label('b1', (83.95,45.88), layer=8, texttype=25))
tt_analog_ring.add(gdstk.Label('clk_out', (85.16,45.88), layer=8, texttype=25))
tt_analog_ring.add(gdstk.Label('VGND', (45.36,43.35), layer=50, texttype=25))
tt_analog_ring.add(gdstk.Label('VPWR', (45.36,51.65), layer=50, texttype=25))
tt_analog_ring.add(gdstk.Label('code[0]', (10.8,0.6), layer=10, texttype=25))
tt_analog_ring.add(gdstk.Label('code[1]', (10,0.6), layer=10, texttype=25))
tt_analog_ring.add(gdstk.Label('code[2]', (9.2,0.6), layer=10, texttype=25))
tt_analog_ring.add(gdstk.Label('code[3]', (8.4,0.6), layer=10, texttype=25))
tt_analog_ring.add(gdstk.Label('code[4]', (7.6,0.6), layer=10, texttype=25))
tt_analog_ring.add(gdstk.Label('code[5]', (6.8,0.6), layer=10, texttype=25))
tt_analog_ring.add(gdstk.Label('code[6]', (6,0.6), layer=10, texttype=25))
tt_analog_ring.add(gdstk.Label('code[7]', (5.2,0.6), layer=10, texttype=25))
tt_analog_ring.add(gdstk.Label('enable', (4.4,0.6), layer=10, texttype=25))
tt_analog_ring.add(gdstk.Label('vbp', (82.32,9.2), layer=10, texttype=25))
tt_analog_ring.add(gdstk.Label('vbn', (31.97,46.48), layer=10, texttype=25))
tt_analog_ring.add(gdstk.Label('clk_out', (90.12,45.5), layer=30, texttype=25))

lib.write_gds('tt_analog_ring.gds')
